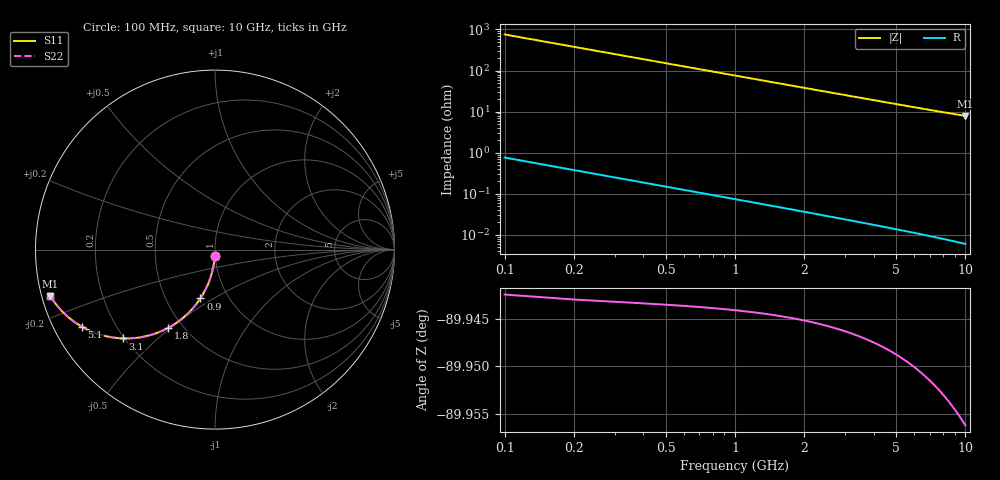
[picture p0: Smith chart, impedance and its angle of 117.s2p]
# Hz S RI R 50.00
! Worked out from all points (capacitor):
!   100 points, 100 MHz to 10 GHz, reference 50 ohm
!   read as one part in shunt: C = 2.11 pF near 100 MHz
!   lowest |Z| = 7.84 ohm at 10 GHz (marker M1)
!   S11 on the Smith chart (normalised r, x): 100 MHz: 1.00, -0.07; 900 MHz: 0.74, -0.44; 1.8 GHz: 0.42, -0.49; 3.1 GHz: 0.19, -0.39; 5.1 GHz: 0.08, -0.27; 10 GHz: 0.02, -0.14
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1e8  -0.00105 -0.0329  0.9988 -0.0332  0.9988 -0.0332  -0.00105 -0.0329
2e8  -0.00435 -0.0656  0.9955 -0.0662  0.9955 -0.0662  -0.00435 -0.0656
3e8  -0.00978 -0.0979  0.9901 -0.0987  0.9901 -0.0987  -0.00978 -0.0979
4e8  -0.0173 -0.1295  0.9826 -0.1307  0.9826 -0.1307  -0.0173 -0.1295
5e8  -0.0267 -0.1603  0.9731 -0.1618  0.9731 -0.1618  -0.0267 -0.1603
6e8  -0.038 -0.1901  0.9618 -0.1919  0.9618 -0.1919  -0.038 -0.1901
7e8  -0.0511 -0.2188  0.9488 -0.2208  0.9488 -0.2208  -0.0511 -0.2188
9e8  -0.0817 -0.2721  0.9182 -0.2748  0.9182 -0.2748  -0.0817 -0.2721
1.1e9  -0.1172 -0.3196  0.8826 -0.3229  0.8826 -0.3229  -0.1172 -0.3196
1.3e9  -0.1564 -0.3609  0.8434 -0.3647  0.8434 -0.3647  -0.1564 -0.3609
1.5e9  -0.1979 -0.3958  0.8019 -0.4002  0.8019 -0.4002  -0.1979 -0.3958
1.8e9  -0.2621 -0.4367  0.7377 -0.442  0.7377 -0.442  -0.2621 -0.4367
2.1e9  -0.3259 -0.4651  0.6739 -0.4713  0.6739 -0.4713  -0.3259 -0.4651
2.4e9  -0.387 -0.483  0.6128 -0.4901  0.6128 -0.4901  -0.387 -0.483
3.1e9  -0.5131 -0.4947  0.4867 -0.5039  0.4867 -0.5039  -0.5131 -0.4947
3.4e9  -0.559 -0.4909  0.4408 -0.501  0.4408 -0.501  -0.559 -0.4909
4.2e9  -0.6594 -0.4671  0.3404 -0.4796  0.3404 -0.4796  -0.6594 -0.4671
5.1e9  -0.7408 -0.43  0.259 -0.4452  0.259 -0.4452  -0.7408 -0.43
5.9e9  -0.7929 -0.3957  0.2067 -0.4134  0.2067 -0.4134  -0.7929 -0.3957
6.7e9  -0.8319 -0.3632  0.1678 -0.3834  0.1678 -0.3834  -0.8319 -0.3632
8.4e9  -0.8865 -0.3036  0.113 -0.329  0.113 -0.329  -0.8865 -0.3036
1e10  -0.9176 -0.2587  0.0818 -0.2892  0.0818 -0.2892  -0.9176 -0.2587
